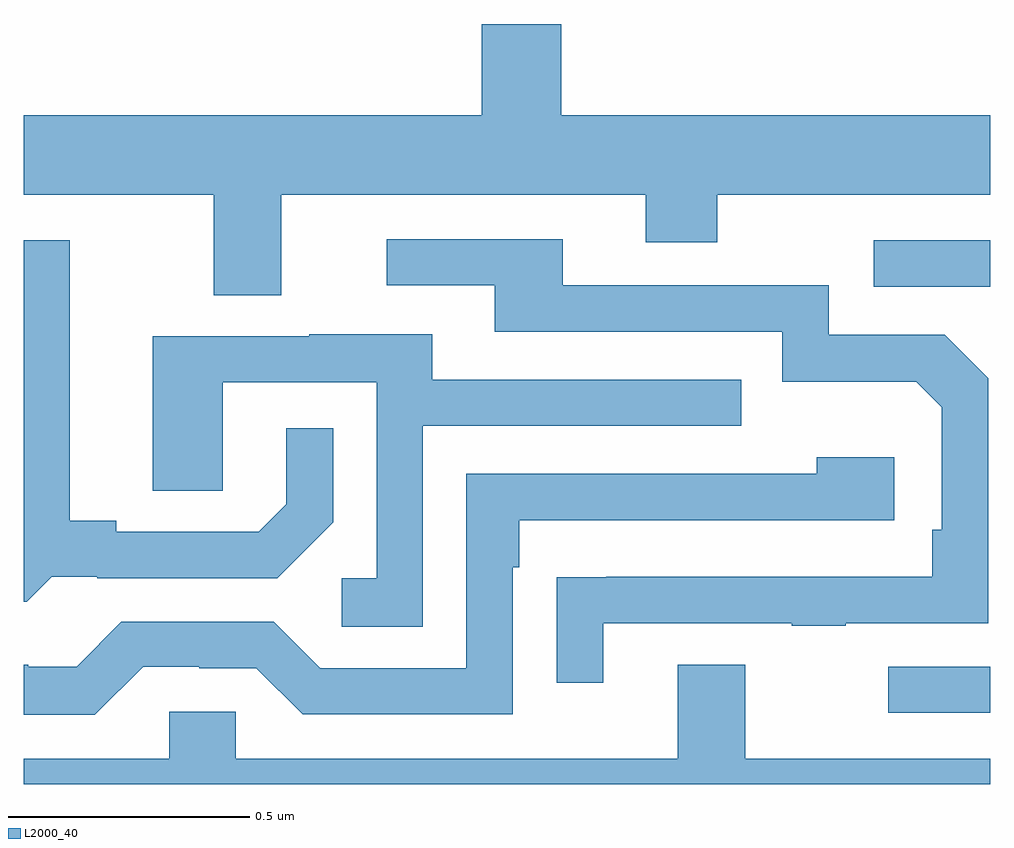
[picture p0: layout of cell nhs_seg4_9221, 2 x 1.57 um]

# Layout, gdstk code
import gdstk
lib = gdstk.Library(unit=1e-6, precision=1e-09)
def R(c, l, rs):  # rectangles x0, y0, x1, y1
    for r in rs: c.add(gdstk.rectangle(r[:2], r[2:], *l))
def P(c, l, *ps):  # polygons
    for p in ps: c.add(gdstk.Polygon(p, *l))
L2000_40 = (2000, 40)

nhs_seg4_9221 = lib.new_cell('nhs_seg4_9221')
R(nhs_seg4_9221, L2000_40, [(225.789,829.047,226,829.143), (225.759,829.929,226,830.025)])
P(nhs_seg4_9221, L2000_40, [(224.533,830.12),(225.287,830.12),(225.287,830.021),(225.435,830.021),(225.435,830.12),(226,830.12),(226,830.284),(225.112,830.284),(225.112,830.473),(224.948,830.473),(224.948,830.284),(224,830.284),(224,830.12),(224.393,830.12),(224.393,829.912),(224.533,829.912)],
  [(225.199,829.233),(225.589,829.233),(225.589,829.228),(225.701,829.228),(225.701,829.233),(225.996,829.233),(225.996,829.74),(225.906,829.83),(225.666,829.83),(225.666,829.932),(225.115,829.932),(225.115,830.028),(224.751,830.028),(224.751,829.932),(224.975,829.932),(224.975,829.836),(225.57,829.836),(225.57,829.733),(225.847,829.733),(225.9,829.68),(225.9,829.426),(225.88,829.426),(225.88,829.329),(225.205,829.329),(225.205,829.328),(225.103,829.328),(225.103,829.11),(225.199,829.11)],
  [(224.058,829.329),(224.152,829.329),(224.152,829.326),(224.524,829.326),(224.64,829.442),(224.64,829.636),(224.543,829.636),(224.543,829.479),(224.486,829.422),(224.191,829.422),(224.191,829.445),(224.095,829.445),(224.095,830.025),(224,830.025),(224,829.277),(224.006,829.277)],
  [(224.826,829.641),(225.485,829.641),(225.485,829.737),(224.845,829.737),(224.845,829.831),(224.591,829.831),(224.591,829.827),(224.267,829.827),(224.267,829.507),(224.412,829.507),(224.412,829.731),(224.73,829.731),(224.73,829.326),(224.658,829.326),(224.658,829.225),(224.826,829.225)],
  [(224.247,829.143),(224.363,829.143),(224.363,829.14),(224.481,829.14),(224.577,829.044),(225.012,829.044),(225.012,829.349),(225.025,829.349),(225.025,829.446),(225.802,829.446),(225.802,829.576),(225.641,829.576),(225.641,829.542),(224.916,829.542),(224.916,829.14),(224.613,829.14),(224.517,829.236),(224.202,829.236),(224.109,829.143),(224.009,829.143),(224.009,829.147),(224,829.147),(224,829.043),(224.147,829.043)],
  [(226,828.952),(225.493,828.952),(225.493,829.147),(225.353,829.147),(225.353,828.952),(224.439,828.952),(224.439,829.05),(224.301,829.05),(224.301,828.952),(224,828.952),(224,828.9),(226,828.9)])

lib.write_gds('nhs_seg4_9221.gds')
